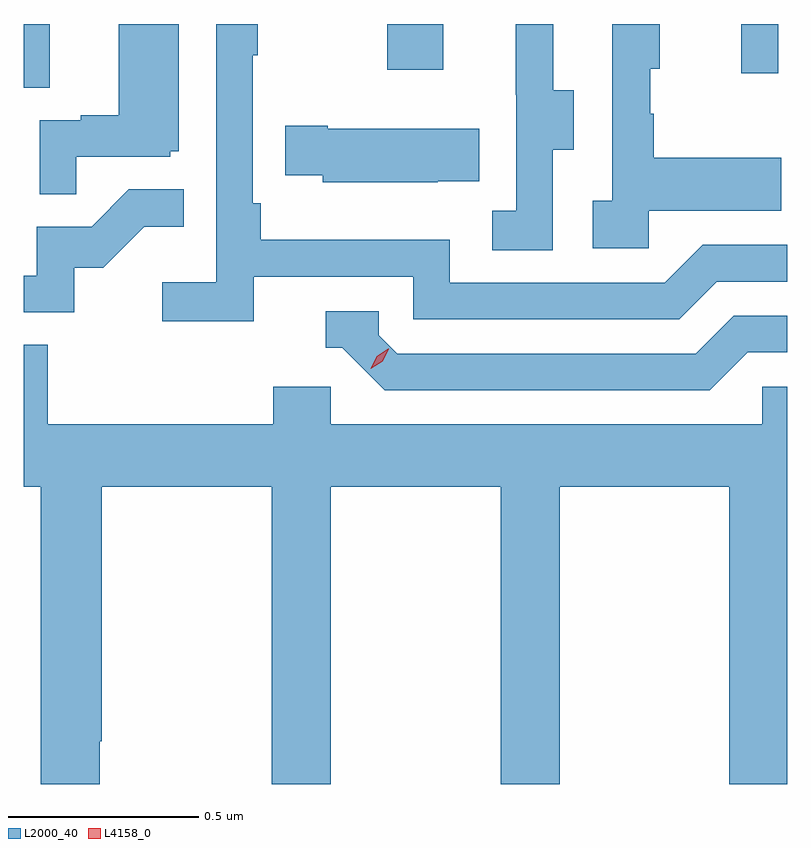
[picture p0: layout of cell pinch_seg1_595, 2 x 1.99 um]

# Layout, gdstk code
import gdstk
lib = gdstk.Library(unit=1e-6, precision=1e-09)
def R(c, l, rs):  # rectangles x0, y0, x1, y1
    for r in rs: c.add(gdstk.rectangle(r[:2], r[2:], *l))
def P(c, l, *ps):  # polygons
    for p in ps: c.add(gdstk.Polygon(p, *l))
L2000_40 = (2000, 40)
L4158_0 = (4158, 0)

pinch_seg1_595 = lib.new_cell('pinch_seg1_595')
R(pinch_seg1_595, L2000_40, [(1059.978,504.826,1060.045,504.993), (1061.858,504.864,1061.955,504.993), (1060.93,504.873,1061.077,504.993)])
P(pinch_seg1_595, L2000_40, [(1060.58,504.33),(1060.998,504.33),(1060.998,504.219),(1061.695,504.219),(1061.794,504.318),(1061.978,504.318),(1061.978,504.414),(1061.757,504.414),(1061.658,504.315),(1061.094,504.315),(1061.094,504.427),(1060.598,504.427),(1060.598,504.523),(1060.578,504.523),(1060.578,504.911),(1060.591,504.911),(1060.591,504.993),(1060.482,504.993),(1060.482,504.316),(1060.341,504.316),(1060.341,504.214),(1060.58,504.214)],
  [(1061.616,504.503),(1061.963,504.503),(1061.963,504.643),(1061.629,504.643),(1061.629,504.758),(1061.619,504.758),(1061.619,504.876),(1061.644,504.876),(1061.644,504.993),(1061.52,504.993),(1061.52,504.53),(1061.469,504.53),(1061.469,504.405),(1061.616,504.405)],
  [(1061.364,504.664),(1061.419,504.664),(1061.419,504.819),(1061.365,504.819),(1061.365,504.993),(1061.267,504.993),(1061.267,504.807),(1061.268,504.807),(1061.268,504.503),(1061.205,504.503),(1061.205,504.4),(1061.364,504.4)],
  [(1060.115,504.645),(1060.362,504.645),(1060.362,504.66),(1060.384,504.66),(1060.384,504.993),(1060.226,504.993),(1060.226,504.754),(1060.127,504.754),(1060.127,504.741),(1060.02,504.741),(1060.02,504.547),(1060.115,504.547)],
  [(1061.063,504.581),(1061.171,504.581),(1061.171,504.718),(1060.774,504.718),(1060.774,504.726),(1060.663,504.726),(1060.663,504.596),(1060.761,504.596),(1060.761,504.578),(1061.063,504.578)],
  [(1060.11,504.354),(1060.186,504.354),(1060.293,504.461),(1060.397,504.461),(1060.397,504.56),(1060.253,504.56),(1060.155,504.462),(1060.011,504.462),(1060.011,504.333),(1059.978,504.333),(1059.978,504.237),(1060.11,504.237)],
  [(1061.875,504.132),(1061.978,504.132),(1061.978,504.228),(1061.838,504.228),(1061.739,504.129),(1060.956,504.129),(1060.908,504.177),(1060.908,504.24),(1060.769,504.24),(1060.769,504.144),(1060.812,504.144),(1060.923,504.033),(1061.776,504.033)],
  [(1060.177,503.113),(1060.182,503.113),(1060.182,503.78),(1060.627,503.78),(1060.627,503.001),(1060.782,503.001),(1060.782,503.78),(1061.227,503.78),(1061.227,503.001),(1061.382,503.001),(1061.382,503.78),(1061.827,503.78),(1061.827,503.001),(1061.978,503.001),(1061.978,504.042),(1061.913,504.042),(1061.913,503.944),(1060.782,503.944),(1060.782,504.042),(1060.631,504.042),(1060.631,503.944),(1060.04,503.944),(1060.04,504.152),(1059.978,504.152),(1059.978,503.78),(1060.022,503.78),(1060.022,503.001),(1060.177,503.001)])
P(pinch_seg1_595, L4158_0, [(1060.887,504.09),(1060.887,504.09),(1060.903,504.122),(1060.933,504.142),(1060.934,504.142),(1060.934,504.141),(1060.918,504.109),(1060.887,504.09)])

lib.write_gds('pinch_seg1_595.gds')
